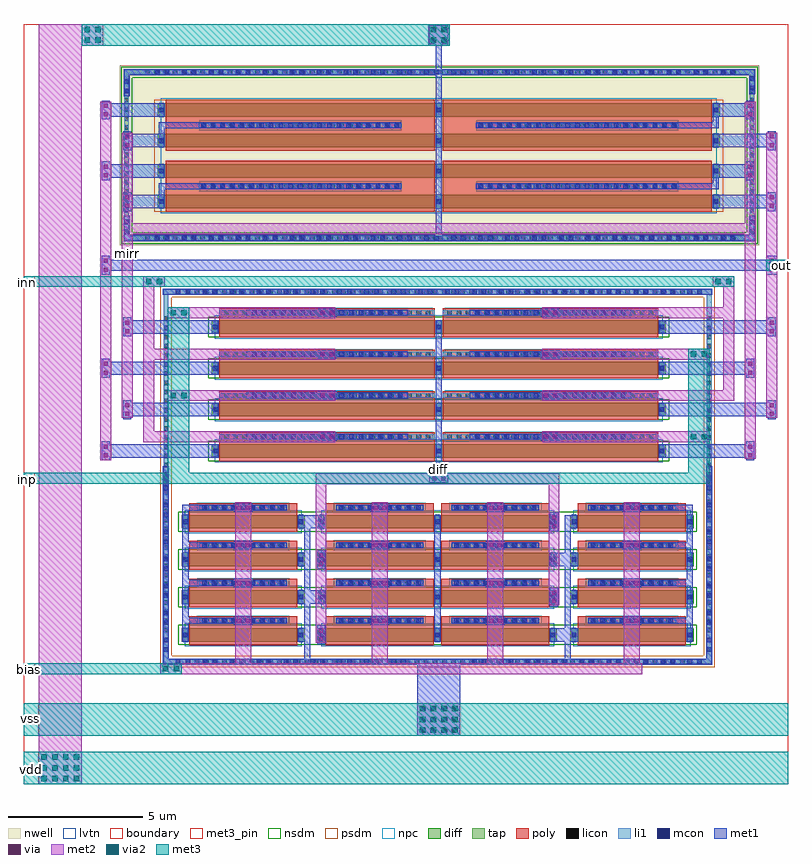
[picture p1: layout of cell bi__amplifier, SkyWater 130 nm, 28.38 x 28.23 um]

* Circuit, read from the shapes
.subckt bi__amplifier bias diff inn inp mirr out vdd vss
XM1 vss bias bias vss sky130_fd_pr__nfet_01v8_lvt w=0.5 l=4 m=8
XM2 diff inn out vss sky130_fd_pr__nfet_01v8_lvt w=0.5 l=8 m=4
XM3 diff inp mirr vss sky130_fd_pr__nfet_01v8_lvt w=0.5 l=8 m=4
XM4 n1 bias diff vss sky130_fd_pr__nfet_01v8_lvt w=0.5 l=4 m=4
XM5 n1 bias vss vss sky130_fd_pr__nfet_01v8_lvt w=0.5 l=4 m=4
XM6 vdd mirr mirr vdd sky130_fd_pr__pfet_01v8_lvt w=0.5 l=10 m=4
XM7 vdd mirr out vdd sky130_fd_pr__pfet_01v8_lvt w=0.5 l=10 m=4
.ends

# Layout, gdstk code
from math import pi, radians
import gdstk
lib = gdstk.Library(unit=1e-6, precision=1e-09)
def R(c, l, rs):  # rectangles x0, y0, x1, y1
    for r in rs: c.add(gdstk.rectangle(r[:2], r[2:], *l))
def A(c, l, x, y, w, h, nx, ny, dx, dy):  # array of equal rectangles
    R(c, l, [(x+i*dx, y+j*dy, x+i*dx+w, y+j*dy+h) for i in range(nx) for j in range(ny)])
nwell = (64, 20)
diff = (65, 20)
tap = (65, 44)
poly = (66, 20)
licon = (66, 44)
li1 = (67, 20)
mcon = (67, 44)
met1 = (68, 20)
via = (68, 44)
met2 = (69, 20)
via2 = (69, 44)
met3_pin = (70, 16)
met3 = (70, 20)
nsdm = (93, 44)
psdm = (94, 20)
npc = (95, 20)
lvtn = (125, 44)
boundary = (235, 4)

bia__m2 = lib.new_cell('bia__M2')
R(bia__m2, diff, [(-4.29,-0.405,4.29,0.095)])
R(bia__m2, poly, [(-4,-0.535,4,0.535)])
A(bia__m2, licon, -3.825, 0.285, 0.17, 0.17, 23, 1, 0.34, 0)
R(bia__m2, licon, [(-4.23,-0.24,-4.06,-0.07), (4.06,-0.24,4.23,-0.07)])
R(bia__m2, li1, [(-4.23,-0.38,-4.06,0.07), (4.06,-0.38,4.23,0.07), (-4,0.285,4,0.455)])
A(bia__m2, mcon, -2.785, 0.285, 0.17, 0.17, 16, 1, 0.36, 0)
R(bia__m2, mcon, [(-4.23,-0.24,-4.06,-0.07), (4.06,-0.24,4.23,-0.07)])
R(bia__m2, met1, [(-4.26,-0.405,-4.03,0.095), (4.03,-0.405,4.26,0.095), (-3,0.255,3,0.485)])
R(bia__m2, nsdm, [(-4.415,-0.53,4.415,0.22)])
R(bia__m2, npc, [(-3.925,0.185,3.925,0.555)])
R(bia__m2, lvtn, [(-4.18,-0.585,4.18,0.275)])

bia__m4 = lib.new_cell('bia__M4')
R(bia__m4, nwell, [(-5.47,-0.74,5.47,0.57)])
R(bia__m4, diff, [(-5.29,-0.43,5.29,0.07)])
R(bia__m4, poly, [(-5,-0.56,5,0.39), (-3.77,0.39,3.77,0.555)])
A(bia__m4, licon, -3.655, 0.305, 0.17, 0.17, 22, 1, 0.34, 0)
R(bia__m4, licon, [(-5.23,-0.265,-5.06,-0.095), (5.06,-0.265,5.23,-0.095)])
R(bia__m4, li1, [(-5.23,-0.45,-5.06,0.09), (5.06,-0.45,5.23,0.09), (-3.77,0.305,3.77,0.475)])
A(bia__m4, mcon, -3.685, 0.305, 0.17, 0.17, 21, 1, 0.36, 0)
R(bia__m4, mcon, [(-5.23,-0.265,-5.06,-0.095), (5.06,-0.265,5.23,-0.095)])
R(bia__m4, met1, [(-5.26,-0.43,-5.03,0.07), (5.03,-0.43,5.26,0.07), (-3.75,0.275,3.75,0.505)])
R(bia__m4, psdm, [(-5.415,-0.555,5.415,0.195)])
R(bia__m4, npc, [(-3.755,0.205,3.755,0.575)])
R(bia__m4, lvtn, [(-5.18,-0.61,5.18,0.25)])

bia__m3 = lib.new_cell('bia__M3')
R(bia__m3, nwell, [(-5.47,-0.74,5.47,0.57)])
R(bia__m3, diff, [(-5.29,-0.43,5.29,0.07)])
R(bia__m3, poly, [(-5,-0.56,5,0.39), (-3.77,0.39,3.77,0.555)])
A(bia__m3, licon, -3.655, 0.305, 0.17, 0.17, 22, 1, 0.34, 0)
R(bia__m3, licon, [(-5.23,-0.265,-5.06,-0.095), (5.06,-0.265,5.23,-0.095)])
R(bia__m3, li1, [(-5.23,-0.45,-5.06,0.09), (5.06,-0.45,5.23,0.09), (-3.77,0.305,3.77,0.475)])
A(bia__m3, mcon, -3.685, 0.305, 0.17, 0.17, 21, 1, 0.36, 0)
R(bia__m3, mcon, [(-5.23,-0.265,-5.06,-0.095), (5.06,-0.265,5.23,-0.095)])
R(bia__m3, met1, [(-5.26,-0.43,-5.03,0.07), (5.03,-0.43,5.26,0.07), (-3.75,0.275,3.75,0.505)])
R(bia__m3, psdm, [(-5.415,-0.555,5.415,0.195)])
R(bia__m3, npc, [(-3.755,0.205,3.755,0.575)])
R(bia__m3, lvtn, [(-5.18,-0.61,5.18,0.25)])

bia__m1 = lib.new_cell('bia__M1')
R(bia__m1, diff, [(-4.29,-0.405,4.29,0.095)])
R(bia__m1, poly, [(-4,-0.535,4,0.535)])
A(bia__m1, licon, -3.825, 0.285, 0.17, 0.17, 23, 1, 0.34, 0)
R(bia__m1, licon, [(-4.23,-0.24,-4.06,-0.07), (4.06,-0.24,4.23,-0.07)])
R(bia__m1, li1, [(-4.23,-0.38,-4.06,0.07), (4.06,-0.38,4.23,0.07), (-4,0.285,4,0.455)])
A(bia__m1, mcon, -2.785, 0.285, 0.17, 0.17, 16, 1, 0.36, 0)
R(bia__m1, mcon, [(-4.23,-0.24,-4.06,-0.07), (4.06,-0.24,4.23,-0.07)])
R(bia__m1, met1, [(-4.26,-0.405,-4.03,0.095), (4.03,-0.405,4.26,0.095), (-3,0.255,3,0.485)])
R(bia__m1, nsdm, [(-4.415,-0.53,4.415,0.22)])
R(bia__m1, npc, [(-3.925,0.185,3.925,0.555)])
R(bia__m1, lvtn, [(-4.18,-0.585,4.18,0.275)])

bia__m5s = lib.new_cell('bia__M5s')
R(bia__m5s, diff, [(-2.29,-0.405,2.29,0.095)])
R(bia__m5s, poly, [(-2,-0.535,2,0.535)])
A(bia__m5s, licon, -1.445, 0.285, 0.17, 0.17, 9, 1, 0.34, 0)
R(bia__m5s, licon, [(-2.23,-0.24,-2.06,-0.07), (2.06,-0.24,2.23,-0.07)])
R(bia__m5s, li1, [(-2.23,-0.425,-2.06,0.115), (2.06,-0.425,2.23,0.115), (-1.64,0.285,1.64,0.455)])
A(bia__m5s, mcon, -1.525, 0.285, 0.17, 0.17, 9, 1, 0.36, 0)
R(bia__m5s, mcon, [(-2.23,-0.24,-2.06,-0.07), (2.06,-0.24,2.23,-0.07)])
R(bia__m5s, met1, [(-2.26,-0.405,-2.03,0.095), (2.03,-0.405,2.26,0.095), (-1.62,0.255,1.62,0.485)])
R(bia__m5s, nsdm, [(-2.415,-0.53,2.415,0.22)])
R(bia__m5s, npc, [(-1.715,0.185,1.715,0.555)])
R(bia__m5s, lvtn, [(-2.18,-0.585,2.18,0.275)])

bia__m5 = lib.new_cell('bia__M5')
R(bia__m5, diff, [(-2.29,-0.405,2.29,0.095)])
R(bia__m5, poly, [(-2,-0.535,2,0.535)])
A(bia__m5, licon, -1.445, 0.285, 0.17, 0.17, 9, 1, 0.34, 0)
R(bia__m5, licon, [(-2.23,-0.24,-2.06,-0.07), (2.06,-0.24,2.23,-0.07)])
R(bia__m5, li1, [(-2.23,-0.425,-2.06,0.115), (2.06,-0.425,2.23,0.115), (-1.64,0.285,1.64,0.455)])
A(bia__m5, mcon, -1.525, 0.285, 0.17, 0.17, 9, 1, 0.36, 0)
R(bia__m5, mcon, [(-2.23,-0.24,-2.06,-0.07), (2.06,-0.24,2.23,-0.07)])
R(bia__m5, met1, [(-2.26,-0.405,-2.03,0.095), (2.03,-0.405,2.26,0.095), (-1.62,0.255,1.62,0.485)])
R(bia__m5, nsdm, [(-2.415,-0.53,2.415,0.22)])
R(bia__m5, npc, [(-1.715,0.185,1.715,0.555)])
R(bia__m5, lvtn, [(-2.18,-0.585,2.18,0.275)])

via__m1_m2 = lib.new_cell('via__M1_M2')
R(via__m1_m2, met1, [(0,0.05,0.7,0.35)])
R(via__m1_m2, via, [(0.115,0.125,0.265,0.275), (0.435,0.125,0.585,0.275)])
R(via__m1_m2, met2, [(0.05,0,0.65,0.4)])

bia__guardring_n = lib.new_cell('bia__Guardring_N')
A(bia__guardring_n, licon, 11.405, 6.965, 0.17, 0.17, 54, 1, 0.34, 0)
A(bia__guardring_n, licon, 10.245, 8.14, 0.17, 0.17, 1, 35, 0, 0.34)
A(bia__guardring_n, licon, 30.425, 8.14, 0.17, 0.17, 1, 35, 0, 0.34)
A(bia__guardring_n, licon, 11.065, 20.7, 0.17, 0.17, 55, 1, 0.34, 0)
bia__guardring_n.add(gdstk.FlexPath([(10.245,20.785),(30.51,20.785),(30.51,7.05),(10.33,7.05),(10.33,20.785)], 0.17, ends="flush", simple_path=True, layer=67, datatype=20))  # li1
bia__guardring_n.add(gdstk.FlexPath([(10.245,20.785),(30.51,20.785),(30.51,7.05),(10.33,7.05),(10.33,20.785)], 0.17, ends="flush", simple_path=True, layer=65, datatype=44))  # tap
bia__guardring_n.add(gdstk.FlexPath([(10.12,20.785),(30.51,20.785),(30.51,7.05),(10.33,7.05),(10.33,20.785)], 0.42, ends="flush", simple_path=True, layer=94, datatype=20))  # psdm

bia__guardring_p = lib.new_cell('bia__Guardring_P')
A(bia__guardring_p, licon, 0.95, 0.18, 0.17, 0.17, 65, 2, 0.34, 6.155)
A(bia__guardring_p, licon, 0.18, 1.215, 0.17, 0.17, 1, 14, 0, 0.34)
A(bia__guardring_p, licon, 23.41, 1.215, 0.17, 0.17, 1, 14, 0, 0.34)
bia__guardring_p.add(gdstk.FlexPath([(0.18,6.42),(23.495,6.42),(23.495,0.265),(0.265,0.265),(0.265,6.42)], 0.17, ends="flush", simple_path=True, layer=67, datatype=20))  # li1
bia__guardring_p.add(gdstk.FlexPath([(0.055,6.42),(23.495,6.42),(23.495,0.265),(0.265,0.265),(0.265,6.42)], 0.42, ends="flush", simple_path=True, layer=93, datatype=44))  # nsdm
bia__guardring_p.add(gdstk.FlexPath([(0.18,6.42),(23.495,6.42),(23.495,0.265),(0.265,0.265),(0.265,6.42)], 0.17, ends="flush", simple_path=True, layer=65, datatype=44))  # tap
bia__guardring_p.add(gdstk.FlexPath([(0,6.42),(23.495,6.42),(23.495,0.265),(0.265,0.265),(0.265,6.42)], 0.53, ends="flush", simple_path=True, layer=64, datatype=20))  # nwell

via__li_m1 = lib.new_cell('via__LI_M1')
R(via__li_m1, li1, [(0.03,0.03,0.56,0.2)])
R(via__li_m1, mcon, [(0.03,0.03,0.2,0.2), (0.39,0.03,0.56,0.2)])
R(via__li_m1, met1, [(0,0,0.59,0.23)])

via__m2_m3 = lib.new_cell('via__M2_M3')
R(via__m2_m3, met2, [(0,0,0.8,0.4)])
R(via__m2_m3, via2, [(0.1,0.1,0.3,0.3), (0.1,0.1,0.3,0.3), (0.5,0.1,0.7,0.3), (0.5,0.1,0.7,0.3)])
R(via__m2_m3, met3, [(0,0,0.8,0.4)])

bia__m6 = lib.new_cell('bia__M6')
R(bia__m6, diff, [(-2.29,-0.405,2.29,0.095)])
R(bia__m6, poly, [(-2,-0.535,2,0.535)])
A(bia__m6, licon, -1.445, 0.285, 0.17, 0.17, 9, 1, 0.34, 0)
R(bia__m6, licon, [(-2.23,-0.24,-2.06,-0.07), (2.06,-0.24,2.23,-0.07)])
R(bia__m6, li1, [(-2.23,-0.425,-2.06,0.115), (2.06,-0.425,2.23,0.115), (-1.64,0.285,1.64,0.455)])
A(bia__m6, mcon, -1.525, 0.285, 0.17, 0.17, 9, 1, 0.36, 0)
R(bia__m6, mcon, [(-2.23,-0.24,-2.06,-0.07), (2.06,-0.24,2.23,-0.07)])
R(bia__m6, met1, [(-2.26,-0.405,-2.03,0.095), (2.03,-0.405,2.26,0.095), (-1.62,0.255,1.62,0.485)])
R(bia__m6, nsdm, [(-2.415,-0.53,2.415,0.22)])
R(bia__m6, npc, [(-1.715,0.185,1.715,0.555)])
R(bia__m6, lvtn, [(-2.18,-0.585,2.18,0.275)])

bi__amplifier = lib.new_cell('bi__amplifier')
R(bi__amplifier, nwell, [(3.55,20.015,27.31,26.7)])
A(bi__amplifier, met1, 5.885, 5.95, 0.64, 0.23, 1, 4, 0, 1.4)
A(bi__amplifier, met1, 24.195, 5.95, 0.64, 0.23, 1, 4, 0, 1.4)
R(bi__amplifier, met1, [(14.605,1.8,16.205,4.66), (19.535,5.29,20.59,5.79), (10.175,6.69,11.185,7.19), (19.535,8.09,20.59,8.59), (10.175,9.49,11.23,9.99), (2.885,12.12,7.23,12.62), (23.58,12.12,27.125,12.62), (3.685,13.655,7.23,14.155), (23.58,13.655,27.925,14.155), (2.885,15.19,7.23,15.69), (23.58,15.19,27.125,15.69), (3.685,16.725,7.23,17.225), (23.58,16.725,27.925,17.225), (27.57,18.915,27.975,19.615), (3.685,21.38,5.23,21.88), (25.58,21.38,27.925,21.88), (2.885,22.52,5.23,23.02), (25.58,22.52,27.125,23.02), (3.685,23.64,5.23,24.14), (25.58,23.64,27.925,24.14), (2.885,24.78,5.23,25.28), (25.58,24.78,27.125,25.28), (15.055,27.475,15.755,28.175)])
R(bi__amplifier, met2, [(0.55,1.05,2.15,28.225), (5.06,4.085,22.965,4.485), (7.845,4.085,8.445,10.465), (12.915,4.085,13.515,10.465), (17.205,4.085,17.805,10.465), (22.275,4.085,22.875,10.465)])
R(bi__amplifier, met3_pin, [(0,0,0.55,1.2), (0,1.8,0.55,3), (0,4.085,0.4,4.485), (0,11.16,0.4,11.56), (0,18.46,0.4,18.86), (27.975,19.065,28.375,19.465)])
R(bi__amplifier, met3, [(5.345,11.16,6.145,17.7), (24.665,11.16,25.465,16.165)])
A(bi__amplifier, nsdm, 10.56, 5.165, 0.24, 0.75, 1, 4, 0, 1.4)
A(bi__amplifier, nsdm, 19.92, 5.165, 0.24, 0.75, 1, 4, 0, 1.4)
R(bi__amplifier, psdm, [(4.845,21.255,25.965,25.405)])
R(bi__amplifier, lvtn, [(5.08,22.06,25.73,24.6)])
R(bi__amplifier, boundary, [(0,0,28.375,28.225)])
bi__amplifier.add(gdstk.FlexPath([(3.815,20.985),(3.815,20.28)], 0.23, ends="extended", simple_path=True, layer=68, datatype=20))  # met1
bi__amplifier.add(gdstk.FlexPath([(3.815,26.435),(3.815,25.65)], 0.23, ends="extended", simple_path=True, layer=68, datatype=20))  # met1
bi__amplifier.add(gdstk.FlexPath([(3.815,26.435),(27.045,26.435)], 0.23, ends="extended", simple_path=True, layer=68, datatype=20))  # met1
bi__amplifier.add(gdstk.FlexPath([(3.815,20.28),(27.045,20.28)], 0.23, ends="extended", simple_path=True, layer=68, datatype=20))  # met1
bi__amplifier.add(gdstk.FlexPath([(27.045,20.28),(27.045,20.985)], 0.23, ends="extended", simple_path=True, layer=68, datatype=20))  # met1
bi__amplifier.add(gdstk.FlexPath([(27.045,26.435),(27.045,25.73)], 0.23, ends="extended", simple_path=True, layer=68, datatype=20))  # met1
bi__amplifier.add(gdstk.FlexPath([(5.27,4.545),(25.45,4.545)], 0.23, ends="extended", simple_path=True, layer=68, datatype=20))  # met1
bi__amplifier.add(gdstk.FlexPath([(10.52,9.875),(10.52,4.545)], 0.23, ends="extended", simple_path=True, layer=68, datatype=20))  # met1
bi__amplifier.add(gdstk.FlexPath([(20.2,9.875),(20.2,4.545)], 0.23, ends="extended", simple_path=True, layer=68, datatype=20))  # met1
bi__amplifier.add(gdstk.FlexPath([(25.45,4.545),(25.45,11.68)], 0.23, ends="extended", simple_path=True, layer=68, datatype=20))  # met1
bi__amplifier.add(gdstk.FlexPath([(5.27,4.545),(5.27,11.68)], 0.23, ends="extended", simple_path=True, layer=68, datatype=20))  # met1
bi__amplifier.add(gdstk.FlexPath([(5.27,18.28),(25.45,18.28)], 0.23, ends="extended", simple_path=True, layer=68, datatype=20))  # met1
bi__amplifier.add(gdstk.FlexPath([(3.035,19.265),(27.975,19.265)], 0.4, ends="flush", simple_path=True, layer=68, datatype=20))  # met1
bi__amplifier.add(gdstk.FlexPath([(15.405,21.495),(15.405,20.28)], 0.23, ends="extended", simple_path=True, layer=68, datatype=20))  # met1
bi__amplifier.add(gdstk.FlexPath([(6,10.265),(6,5.905)], 0.23, ends="extended", simple_path=True, layer=68, datatype=20))  # met1
bi__amplifier.add(gdstk.FlexPath([(24.72,10.265),(24.72,5.905)], 0.23, ends="extended", simple_path=True, layer=68, datatype=20))  # met1
bi__amplifier.add(gdstk.FlexPath([(15.36,9.99),(15.36,5.29)], 0.23, ends="flush", simple_path=True, layer=68, datatype=20))  # met1
bi__amplifier.add(gdstk.FlexPath([(15.405,16.61),(15.405,11.455)], 0.23, ends="extended", simple_path=True, layer=68, datatype=20))  # met1
bi__amplifier.add(gdstk.FlexPath([(6.51,24.46),(5.115,24.46),(5.115,24.14)], 0.23, ends="flush", simple_path=True, layer=68, datatype=20))  # met1
bi__amplifier.add(gdstk.FlexPath([(24.3,24.46),(25.695,24.46),(25.695,24.78)], 0.23, ends="flush", simple_path=True, layer=68, datatype=20))  # met1
bi__amplifier.add(gdstk.FlexPath([(6.51,22.2),(5.115,22.2),(5.115,21.88)], 0.23, ends="flush", simple_path=True, layer=68, datatype=20))  # met1
bi__amplifier.add(gdstk.FlexPath([(24.3,22.2),(25.695,22.2),(25.695,22.52)], 0.23, ends="flush", simple_path=True, layer=68, datatype=20))  # met1
bi__amplifier.add(gdstk.FlexPath([(15.405,21.495),(15.405,27.595)], 0.23, ends="extended", simple_path=True, layer=68, datatype=20))  # met1
bi__amplifier.add(gdstk.FlexPath([(0.6,0.6),(27.775,0.6)], 1.2, ends="extended", simple_path=True, layer=70, datatype=20))  # met3
bi__amplifier.add(gdstk.FlexPath([(0.6,2.4),(27.775,2.4)], 1.2, ends="extended", simple_path=True, layer=70, datatype=20))  # met3
bi__amplifier.add(gdstk.FlexPath([(25.465,11.36),(0,11.36)], 0.4, ends="flush", simple_path=True, layer=70, datatype=20))  # met3
bi__amplifier.add(gdstk.FlexPath([(26.375,18.66),(0,18.66)], 0.4, ends="flush", simple_path=True, layer=70, datatype=20))  # met3
bi__amplifier.add(gdstk.FlexPath([(2.55,27.825),(15.265,27.825)], 0.8, ends="extended", simple_path=True, layer=70, datatype=20))  # met3
bi__amplifier.add(gdstk.FlexPath([(5.66,4.285),(0.2,4.285)], 0.4, ends="extended", simple_path=True, layer=70, datatype=20))  # met3
bi__amplifier.add(gdstk.FlexPath([(27.77,19.265),(28.175,19.265)], 0.4, ends="extended", simple_path=True, layer=70, datatype=20))  # met3
bi__amplifier.add(gdstk.FlexPath([(11.035,5.24),(11.035,11.34)], 0.4, ends="flush", simple_path=True, layer=69, datatype=20))  # met2
bi__amplifier.add(gdstk.FlexPath([(11.035,11.34),(19.685,11.34)], 0.4, ends="extended", simple_path=True, layer=69, datatype=20))  # met2
bi__amplifier.add(gdstk.FlexPath([(19.685,6.64),(19.685,11.34)], 0.4, ends="flush", simple_path=True, layer=69, datatype=20))  # met2
bi__amplifier.add(gdstk.FlexPath([(26.175,14.43),(26.175,18.56)], 0.4, ends="flush", simple_path=True, layer=69, datatype=20))  # met2
bi__amplifier.add(gdstk.FlexPath([(11.56,15.965),(4.435,15.965)], 0.4, ends="flush", simple_path=True, layer=69, datatype=20))  # met2
bi__amplifier.add(gdstk.FlexPath([(11.56,12.895),(4.435,12.895)], 0.4, ends="flush", simple_path=True, layer=69, datatype=20))  # met2
bi__amplifier.add(gdstk.FlexPath([(19.25,17.5),(26.375,17.5)], 0.4, ends="flush", simple_path=True, layer=69, datatype=20))  # met2
bi__amplifier.add(gdstk.FlexPath([(19.25,14.43),(26.375,14.43)], 0.4, ends="flush", simple_path=True, layer=69, datatype=20))  # met2
bi__amplifier.add(gdstk.FlexPath([(11.56,14.43),(6.145,14.43)], 0.4, ends="flush", simple_path=True, layer=69, datatype=20))  # met2
bi__amplifier.add(gdstk.FlexPath([(11.56,17.5),(6.145,17.5)], 0.4, ends="flush", simple_path=True, layer=69, datatype=20))  # met2
bi__amplifier.add(gdstk.FlexPath([(19.25,12.895),(24.665,12.895)], 0.4, ends="flush", simple_path=True, layer=69, datatype=20))  # met2
bi__amplifier.add(gdstk.FlexPath([(19.25,15.965),(24.665,15.965)], 0.4, ends="flush", simple_path=True, layer=69, datatype=20))  # met2
bi__amplifier.add(gdstk.FlexPath([(4.635,12.695),(4.635,18.56)], 0.4, ends="flush", simple_path=True, layer=69, datatype=20))  # met2
bi__amplifier.add(gdstk.FlexPath([(3.835,13.605),(3.835,24.19)], 0.4, ends="flush", simple_path=True, layer=69, datatype=20))  # met2
bi__amplifier.add(gdstk.FlexPath([(3.035,12.02),(3.035,25.23)], 0.4, ends="flush", simple_path=True, layer=69, datatype=20))  # met2
bi__amplifier.add(gdstk.FlexPath([(27.775,13.605),(27.775,24.19)], 0.4, ends="flush", simple_path=True, layer=69, datatype=20))  # met2
bi__amplifier.add(gdstk.FlexPath([(26.975,12.07),(26.975,25.33)], 0.4, ends="flush", simple_path=True, layer=69, datatype=20))  # met2
bi__amplifier.add(gdstk.FlexPath([(3.835,20.62),(26.975,20.62)], 0.4, ends="flush", simple_path=True, layer=69, datatype=20))  # met2
bi__amplifier.add(gdstk.Reference(bia__m2, (11.26,15.595)))
bi__amplifier.add(gdstk.Reference(bia__m4, (10.26,24.85), x_reflection=True))
bi__amplifier.add(gdstk.Reference(bia__m4, (10.26,22.59), x_reflection=True))
bi__amplifier.add(gdstk.Reference(bia__m3, (10.26,21.81)))
bi__amplifier.add(gdstk.Reference(bia__m3, (10.26,24.07)))
bi__amplifier.add(gdstk.Reference(bia__m1, (11.26,14.06)))
bi__amplifier.add(gdstk.Reference(bia__m2, (11.26,12.525)))
bi__amplifier.add(gdstk.Reference(bia__m1, (11.26,17.13)))
bi__amplifier.add(gdstk.Reference(bia__m5s, (13.215,8.495)))
bi__amplifier.add(gdstk.Reference(bia__m5, (13.215,7.095)))
bi__amplifier.add(gdstk.Reference(bia__m5, (13.215,9.895)))
bi__amplifier.add(gdstk.Reference(bia__m5s, (13.215,5.695)))
bi__amplifier.add(gdstk.Reference(bia__m2, (19.55,14.06)))
bi__amplifier.add(gdstk.Reference(via__m1_m2, (27.575,13.555), rotation=pi/2, x_reflection=True))
bi__amplifier.add(gdstk.Reference(via__m1_m2, (4.035,14.255), rotation=3*pi/2, x_reflection=True))
bi__amplifier.add(gdstk.Reference(bia__guardring_n, (-5.06,-2.505)))
bi__amplifier.add(gdstk.Reference(bia__guardring_p, (3.55,20.015)))
bi__amplifier.add(gdstk.Reference(via__li_m1, (15.84,26.32)))
bi__amplifier.add(gdstk.Reference(bia__m2, (19.55,17.13)))
bi__amplifier.add(gdstk.Reference(via__li_m1, (16.84,26.32)))
bi__amplifier.add(gdstk.Reference(via__li_m1, (17.84,26.32)))
bi__amplifier.add(gdstk.Reference(via__li_m1, (18.84,26.32)))
bi__amplifier.add(gdstk.Reference(via__m1_m2, (19.2,17.7), x_reflection=True))
bi__amplifier.add(gdstk.Reference(via__m2_m3, (26.375,18.86), rotation=pi))
bi__amplifier.add(gdstk.Reference(via__m1_m2, (19.2,14.63), x_reflection=True))
bi__amplifier.add(gdstk.Reference(via__li_m1, (19.84,26.32)))
bi__amplifier.add(gdstk.Reference(via__m2_m3, (24.665,15.765)))
bi__amplifier.add(gdstk.Reference(via__li_m1, (20.84,26.32)))
bi__amplifier.add(gdstk.Reference(via__m1_m2, (19.2,16.165), x_reflection=True))
bi__amplifier.add(gdstk.Reference(via__li_m1, (21.84,26.32)))
bi__amplifier.add(gdstk.Reference(via__li_m1, (22.84,26.32)))
bi__amplifier.add(gdstk.Reference(via__m1_m2, (27.575,16.625), rotation=pi/2, x_reflection=True))
bi__amplifier.add(gdstk.Reference(via__m1_m2, (26.775,15.09), rotation=pi/2, x_reflection=True))
bi__amplifier.add(gdstk.Reference(via__m2_m3, (15.005,28.225), rotation=3*pi/2))
bi__amplifier.add(gdstk.Reference(via__m1_m2, (26.775,24.68), rotation=pi/2, x_reflection=True))
bi__amplifier.add(gdstk.Reference(via__m1_m2, (26.775,22.42), rotation=pi/2, x_reflection=True))
bi__amplifier.add(gdstk.Reference(via__m1_m2, (27.575,23.54), rotation=pi/2, x_reflection=True))
bi__amplifier.add(gdstk.Reference(via__m1_m2, (27.575,21.28), rotation=pi/2, x_reflection=True))
bi__amplifier.add(gdstk.Reference(via__m1_m2, (27.975,19.615), rotation=3*pi/2, x_reflection=True))
bi__amplifier.add(gdstk.Reference(via__m2_m3, (27.575,19.065)))
bi__amplifier.add(gdstk.Reference(via__li_m1, (23.84,26.32)))
bi__amplifier.add(gdstk.Reference(bia__m1, (19.55,15.595)))
bi__amplifier.add(gdstk.Reference(via__li_m1, (24.84,26.32)))
bi__amplifier.add(gdstk.Reference(via__m2_m3, (15.405,28.225), rotation=3*pi/2))
bi__amplifier.add(gdstk.Reference(bia__m3, (20.55,24.85), x_reflection=True))
bi__amplifier.add(gdstk.Reference(bia__m3, (20.55,22.59), x_reflection=True))
bi__amplifier.add(gdstk.Reference(via__li_m1, (24.61,18.165)))
bi__amplifier.add(gdstk.Reference(via__li_m1, (17.61,18.165)))
bi__amplifier.add(gdstk.Reference(via__li_m1, (16.61,18.165)))
bi__amplifier.add(gdstk.Reference(via__li_m1, (23.61,18.165)))
bi__amplifier.add(gdstk.Reference(via__li_m1, (22.61,18.165)))
bi__amplifier.add(gdstk.Reference(via__li_m1, (21.61,18.165)))
bi__amplifier.add(gdstk.Reference(via__li_m1, (20.61,18.165)))
bi__amplifier.add(gdstk.Reference(via__li_m1, (19.61,18.165)))
bi__amplifier.add(gdstk.Reference(via__li_m1, (18.61,18.165)))
bi__amplifier.add(gdstk.Reference(via__li_m1, (14.61,18.165)))
bi__amplifier.add(gdstk.Reference(via__li_m1, (15.61,18.165)))
bi__amplifier.add(gdstk.Reference(via__li_m1, (25.84,26.32)))
bi__amplifier.add(gdstk.Reference(via__li_m1, (26.93,26.32), rotation=3*pi/2))
bi__amplifier.add(gdstk.Reference(via__li_m1, (14.84,20.165)))
bi__amplifier.add(gdstk.Reference(via__li_m1, (15.84,20.165)))
bi__amplifier.add(gdstk.Reference(via__li_m1, (16.84,20.165)))
bi__amplifier.add(gdstk.Reference(via__li_m1, (17.84,20.165)))
bi__amplifier.add(gdstk.Reference(via__li_m1, (18.84,20.165)))
bi__amplifier.add(gdstk.Reference(via__li_m1, (19.84,20.165)))
bi__amplifier.add(gdstk.Reference(via__li_m1, (20.84,20.165)))
bi__amplifier.add(gdstk.Reference(via__li_m1, (21.84,20.165)))
bi__amplifier.add(gdstk.Reference(via__li_m1, (22.84,20.165)))
bi__amplifier.add(gdstk.Reference(via__li_m1, (23.84,20.165)))
bi__amplifier.add(gdstk.Reference(via__li_m1, (24.84,20.165)))
bi__amplifier.add(gdstk.Reference(via__li_m1, (25.84,20.165)))
bi__amplifier.add(gdstk.Reference(via__li_m1, (26.93,20.395), rotation=pi/2, x_reflection=True))
bi__amplifier.add(gdstk.Reference(via__m1_m2, (15.055,28.225), x_reflection=True))
bi__amplifier.add(gdstk.Reference(bia__m4, (20.55,24.07)))
bi__amplifier.add(gdstk.Reference(bia__m4, (20.55,21.81)))
bi__amplifier.add(gdstk.Reference(via__m1_m2, (15.055,27.825), x_reflection=True))
bi__amplifier.add(gdstk.Reference(via__li_m1, (14.84,26.32)))
bi__amplifier.add(gdstk.Reference(via__li_m1, (13.84,26.32)))
bi__amplifier.add(gdstk.Reference(via__li_m1, (13.84,20.165)))
bi__amplifier.add(gdstk.Reference(via__m2_m3, (5.345,14.23)))
bi__amplifier.add(gdstk.Reference(via__li_m1, (10.61,18.165)))
bi__amplifier.add(gdstk.Reference(via__li_m1, (6.84,26.32)))
bi__amplifier.add(gdstk.Reference(via__li_m1, (7.84,26.32)))
bi__amplifier.add(gdstk.Reference(via__li_m1, (12.61,18.165)))
bi__amplifier.add(gdstk.Reference(via__m2_m3, (2.15,28.225), rotation=3*pi/2))
bi__amplifier.add(gdstk.Reference(via__li_m1, (8.84,26.32)))
bi__amplifier.add(gdstk.Reference(via__li_m1, (8.61,18.165)))
bi__amplifier.add(gdstk.Reference(via__m1_m2, (3.235,15.79), rotation=3*pi/2, x_reflection=True))
bi__amplifier.add(gdstk.Reference(via__m1_m2, (4.035,17.325), rotation=3*pi/2, x_reflection=True))
bi__amplifier.add(gdstk.Reference(via__m1_m2, (3.235,25.38), rotation=3*pi/2, x_reflection=True))
bi__amplifier.add(gdstk.Reference(via__li_m1, (13.61,18.165)))
bi__amplifier.add(gdstk.Reference(via__m1_m2, (3.235,23.12), rotation=3*pi/2, x_reflection=True))
bi__amplifier.add(gdstk.Reference(via__m1_m2, (4.035,24.24), rotation=3*pi/2, x_reflection=True))
bi__amplifier.add(gdstk.Reference(via__m1_m2, (4.035,21.98), rotation=3*pi/2, x_reflection=True))
bi__amplifier.add(gdstk.Reference(via__li_m1, (4.84,26.32)))
bi__amplifier.add(gdstk.Reference(via__m1_m2, (10.91,16.165), x_reflection=True))
bi__amplifier.add(gdstk.Reference(via__li_m1, (9.61,18.165)))
bi__amplifier.add(gdstk.Reference(via__m2_m3, (2.55,28.225), rotation=3*pi/2))
bi__amplifier.add(gdstk.Reference(via__m2_m3, (5.235,18.86), rotation=pi))
bi__amplifier.add(gdstk.Reference(via__li_m1, (9.84,26.32)))
bi__amplifier.add(gdstk.Reference(via__li_m1, (12.84,20.165)))
bi__amplifier.add(gdstk.Reference(via__m1_m2, (3.235,19.615), rotation=3*pi/2, x_reflection=True))
bi__amplifier.add(gdstk.Reference(via__m1_m2, (10.91,14.63), x_reflection=True))
bi__amplifier.add(gdstk.Reference(via__m1_m2, (10.91,17.7), x_reflection=True))
bi__amplifier.add(gdstk.Reference(via__m2_m3, (5.345,17.3)))
bi__amplifier.add(gdstk.Reference(via__li_m1, (11.61,18.165)))
bi__amplifier.add(gdstk.Reference(via__li_m1, (10.84,26.32)))
bi__amplifier.add(gdstk.Reference(via__li_m1, (11.84,26.32)))
bi__amplifier.add(gdstk.Reference(via__li_m1, (12.84,26.32)))
bi__amplifier.add(gdstk.Reference(via__li_m1, (5.84,20.165)))
bi__amplifier.add(gdstk.Reference(via__li_m1, (6.84,20.165)))
bi__amplifier.add(gdstk.Reference(via__li_m1, (7.84,20.165)))
bi__amplifier.add(gdstk.Reference(via__li_m1, (8.84,20.165)))
bi__amplifier.add(gdstk.Reference(via__li_m1, (9.84,20.165)))
bi__amplifier.add(gdstk.Reference(via__li_m1, (10.84,20.165)))
bi__amplifier.add(gdstk.Reference(via__li_m1, (11.84,20.165)))
bi__amplifier.add(gdstk.Reference(via__li_m1, (5.84,26.32)))
bi__amplifier.add(gdstk.Reference(via__li_m1, (4.84,20.165)))
bi__amplifier.add(gdstk.Reference(via__li_m1, (3.7,20.395), rotation=pi/2, x_reflection=True))
bi__amplifier.add(gdstk.Reference(via__li_m1, (5.61,18.165)))
bi__amplifier.add(gdstk.Reference(via__li_m1, (6.61,18.165)))
bi__amplifier.add(gdstk.Reference(via__li_m1, (3.7,26.21), rotation=3*pi/2))
bi__amplifier.add(gdstk.Reference(via__li_m1, (7.61,18.165)))
bi__amplifier.add(gdstk.Reference(via__m1_m2, (7.795,9.065), x_reflection=True))
bi__amplifier.add(gdstk.Reference(via__m1_m2, (7.795,7.665), x_reflection=True))
bi__amplifier.add(gdstk.Reference(via__m1_m2, (7.795,6.265), x_reflection=True))
bi__amplifier.add(gdstk.Reference(via__li_m1, (13.61,4.43)))
bi__amplifier.add(gdstk.Reference(via__li_m1, (12.61,4.43)))
bi__amplifier.add(gdstk.Reference(via__m1_m2, (12.865,9.065), x_reflection=True))
bi__amplifier.add(gdstk.Reference(via__m1_m2, (12.865,7.665), x_reflection=True))
bi__amplifier.add(gdstk.Reference(via__m1_m2, (12.865,6.265), x_reflection=True))
bi__amplifier.add(gdstk.Reference(via__m1_m2, (12.865,10.465), x_reflection=True))
bi__amplifier.add(gdstk.Reference(via__m1_m2, (10.91,13.095), x_reflection=True))
bi__amplifier.add(gdstk.Reference(via__li_m1, (5.155,5.47), rotation=3*pi/2))
bi__amplifier.add(gdstk.Reference(via__li_m1, (5.155,6.47), rotation=3*pi/2))
bi__amplifier.add(gdstk.Reference(via__li_m1, (5.155,7.47), rotation=3*pi/2))
bi__amplifier.add(gdstk.Reference(via__li_m1, (5.155,8.47), rotation=3*pi/2))
bi__amplifier.add(gdstk.Reference(via__li_m1, (5.155,9.47), rotation=3*pi/2))
bi__amplifier.add(gdstk.Reference(via__li_m1, (5.155,10.47), rotation=3*pi/2))
bi__amplifier.add(gdstk.Reference(via__li_m1, (5.155,11.47), rotation=3*pi/2))
bi__amplifier.add(gdstk.Reference(via__li_m1, (5.61,4.43)))
bi__amplifier.add(gdstk.Reference(via__li_m1, (6.61,4.43)))
bi__amplifier.add(gdstk.Reference(via__li_m1, (7.61,4.43)))
bi__amplifier.add(gdstk.Reference(via__li_m1, (8.61,4.43)))
bi__amplifier.add(gdstk.Reference(via__li_m1, (9.61,4.43)))
bi__amplifier.add(gdstk.Reference(via__m1_m2, (7.795,10.465), x_reflection=True))
bi__amplifier.add(gdstk.Reference(via__m1_m2, (3.235,12.72), rotation=3*pi/2, x_reflection=True))
bi__amplifier.add(gdstk.Reference(via__li_m1, (11.61,4.43)))
bi__amplifier.add(gdstk.Reference(via__li_m1, (10.61,4.43)))
bi__amplifier.add(gdstk.Reference(bia__m6, (8.145,8.495)))
bi__amplifier.add(gdstk.Reference(bia__m6, (8.145,7.095)))
bi__amplifier.add(gdstk.Reference(bia__m6, (8.145,5.695)))
bi__amplifier.add(gdstk.Reference(bia__m6, (8.145,9.895)))
bi__amplifier.add(gdstk.Reference(via__m2_m3, (5.06,4.085)))
bi__amplifier.add(gdstk.Reference(via__m1_m2, (10.835,5.19), rotation=pi/2, x_reflection=True))
bi__amplifier.add(gdstk.Reference(via__m1_m2, (10.835,7.99), rotation=pi/2, x_reflection=True))
bi__amplifier.add(gdstk.Reference(via__m2_m3, (1.35,0.4), rotation=pi))
bi__amplifier.add(gdstk.Reference(via__m2_m3, (2.15,0.4), rotation=pi))
bi__amplifier.add(gdstk.Reference(via__m2_m3, (1.35,0.8), rotation=pi))
bi__amplifier.add(gdstk.Reference(via__m2_m3, (2.15,0.8), rotation=pi))
bi__amplifier.add(gdstk.Reference(via__m2_m3, (1.35,1.2), rotation=pi))
bi__amplifier.add(gdstk.Reference(via__m2_m3, (2.15,1.2), rotation=pi))
bi__amplifier.add(gdstk.Reference(via__li_m1, (16.61,4.43)))
bi__amplifier.add(gdstk.Reference(via__m1_m2, (22.925,10.465), rotation=pi))
bi__amplifier.add(gdstk.Reference(via__m1_m2, (22.925,9.065), rotation=pi))
bi__amplifier.add(gdstk.Reference(via__m1_m2, (22.925,7.665), rotation=pi))
bi__amplifier.add(gdstk.Reference(via__m1_m2, (22.925,6.265), rotation=pi))
bi__amplifier.add(gdstk.Reference(via__m1_m2, (17.855,9.065), rotation=pi))
bi__amplifier.add(gdstk.Reference(via__m1_m2, (17.855,7.665), rotation=pi))
bi__amplifier.add(gdstk.Reference(via__m1_m2, (17.855,6.265), rotation=pi))
bi__amplifier.add(gdstk.Reference(via__m1_m2, (17.855,10.465), rotation=pi))
bi__amplifier.add(gdstk.Reference(via__li_m1, (25.335,5.47), rotation=3*pi/2))
bi__amplifier.add(gdstk.Reference(via__li_m1, (25.335,6.47), rotation=3*pi/2))
bi__amplifier.add(gdstk.Reference(via__li_m1, (25.335,7.47), rotation=3*pi/2))
bi__amplifier.add(gdstk.Reference(via__li_m1, (25.335,8.47), rotation=3*pi/2))
bi__amplifier.add(gdstk.Reference(via__li_m1, (25.335,9.47), rotation=3*pi/2))
bi__amplifier.add(gdstk.Reference(via__li_m1, (25.335,10.47), rotation=3*pi/2))
bi__amplifier.add(gdstk.Reference(via__li_m1, (25.335,11.47), rotation=3*pi/2))
bi__amplifier.add(gdstk.Reference(via__m1_m2, (15.055,11.54), x_reflection=True))
bi__amplifier.add(gdstk.Reference(via__m1_m2, (26.775,12.02), rotation=pi/2, x_reflection=True))
bi__amplifier.add(gdstk.Reference(via__li_m1, (24.61,4.43)))
bi__amplifier.add(gdstk.Reference(bia__m1, (19.55,12.525)))
bi__amplifier.add(gdstk.Reference(via__li_m1, (23.61,4.43)))
bi__amplifier.add(gdstk.Reference(via__m1_m2, (19.485,6.59), rotation=pi/2, x_reflection=True))
bi__amplifier.add(gdstk.Reference(via__li_m1, (22.61,4.43)))
bi__amplifier.add(gdstk.Reference(bia__m5, (17.505,8.495)))
bi__amplifier.add(gdstk.Reference(bia__m5s, (17.505,7.095)))
bi__amplifier.add(gdstk.Reference(bia__m5, (17.505,5.695)))
bi__amplifier.add(gdstk.Reference(via__li_m1, (21.61,4.43)))
bi__amplifier.add(gdstk.Reference(bia__m5s, (17.505,9.895)))
bi__amplifier.add(gdstk.Reference(via__m1_m2, (19.485,9.39), rotation=pi/2, x_reflection=True))
bi__amplifier.add(gdstk.Reference(bia__m6, (22.575,9.895)))
bi__amplifier.add(gdstk.Reference(bia__m6, (22.575,8.495)))
bi__amplifier.add(gdstk.Reference(bia__m6, (22.575,7.095)))
bi__amplifier.add(gdstk.Reference(bia__m6, (22.575,5.695)))
bi__amplifier.add(gdstk.Reference(via__li_m1, (20.61,4.43)))
bi__amplifier.add(gdstk.Reference(via__m2_m3, (15.405,2.2), rotation=pi))
bi__amplifier.add(gdstk.Reference(via__li_m1, (19.61,4.43)))
bi__amplifier.add(gdstk.Reference(via__li_m1, (18.61,4.43)))
bi__amplifier.add(gdstk.Reference(via__m1_m2, (19.2,13.095), x_reflection=True))
bi__amplifier.add(gdstk.Reference(via__m2_m3, (24.665,12.695)))
bi__amplifier.add(gdstk.Reference(via__li_m1, (17.61,4.43)))
bi__amplifier.add(gdstk.Reference(via__m2_m3, (16.205,2.2), rotation=pi))
bi__amplifier.add(gdstk.Reference(via__m2_m3, (15.405,2.6), rotation=pi))
bi__amplifier.add(gdstk.Reference(via__m2_m3, (16.205,2.6), rotation=pi))
bi__amplifier.add(gdstk.Reference(via__m2_m3, (15.405,3), rotation=pi))
bi__amplifier.add(gdstk.Reference(via__m2_m3, (16.205,3), rotation=pi))
bi__amplifier.add(gdstk.Reference(via__m1_m2, (15.355,2.2), rotation=pi))
bi__amplifier.add(gdstk.Reference(via__m1_m2, (16.155,2.2), rotation=pi))
bi__amplifier.add(gdstk.Reference(via__m1_m2, (15.355,2.6), rotation=pi))
bi__amplifier.add(gdstk.Reference(via__m1_m2, (16.155,2.6), rotation=pi))
bi__amplifier.add(gdstk.Reference(via__m1_m2, (15.355,3), rotation=pi))
bi__amplifier.add(gdstk.Reference(via__m1_m2, (16.155,3), rotation=pi))
bi__amplifier.add(gdstk.Label('out', (28.15,19.265), layer=70, texttype=16))
bi__amplifier.add(gdstk.Label('inp', (0.14,11.3), layer=70, texttype=16))
bi__amplifier.add(gdstk.Label('inn', (0.14,18.61), layer=70, texttype=16))
bi__amplifier.add(gdstk.Label('vss', (0.245,2.425), layer=70, texttype=16))
bi__amplifier.add(gdstk.Label('bias', (0.17,4.25), layer=70, texttype=16))
bi__amplifier.add(gdstk.Label('vdd', (0.275,0.55), layer=70, texttype=16))
bi__amplifier.add(gdstk.Label('diff', (15.405,11.67), layer=68, texttype=5))
bi__amplifier.add(gdstk.Label('mirr', (3.835,19.705), layer=69, texttype=5))

lib.write_gds('bi__amplifier.gds')
